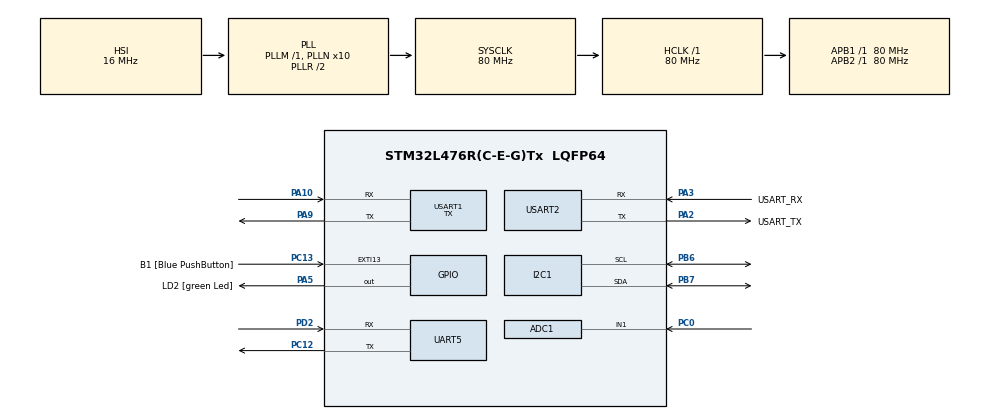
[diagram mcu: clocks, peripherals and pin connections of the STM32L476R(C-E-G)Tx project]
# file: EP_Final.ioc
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ADC1.Channel-0\#ChannelRegularConversion=ADC_CHANNEL_1
ADC1.NbrOfConversionFlag=1
ADC1.OffsetNumber-0\#ChannelRegularConversion=ADC_OFFSET_NONE
ADC1.Rank-0\#ChannelRegularConversion=1
ADC1.SamplingTime-0\#ChannelRegularConversion=ADC_SAMPLETIME_2CYCLES_5
ADC1.master=1
Dma.Request0=UART5_RX
Dma.UART5_RX.0.Direction=DMA_PERIPH_TO_MEMORY
Dma.UART5_RX.0.Instance=DMA2_Channel2
Dma.UART5_RX.0.MemDataAlignment=DMA_MDATAALIGN_BYTE
Dma.UART5_RX.0.MemInc=DMA_MINC_ENABLE
Dma.UART5_RX.0.Mode=DMA_CIRCULAR
Dma.UART5_RX.0.PeriphDataAlignment=DMA_PDATAALIGN_BYTE
Dma.UART5_RX.0.PeriphInc=DMA_PINC_DISABLE
Dma.UART5_RX.0.Priority=DMA_PRIORITY_LOW
FREERTOS.Tasks01=defaultTask,24,128,StartDefaultTask,Default,NULL,Dynamic,NULL,NULL
FREERTOS.configUSE_NEWLIB_REENTRANT=1
I2C1.Timing=0x10D19CE4
Mcu.Family=STM32L4
Mcu.Name=STM32L476R(C-E-G)Tx
Mcu.Package=LQFP64
NVIC.DMA2_Channel2_IRQn=true\:5\:0\:false\:false\:true\:true\:false\:true\:true
NVIC.PriorityGroup=NVIC_PRIORITYGROUP_4
NVIC.TIM6_DAC_IRQn=true\:15\:0\:false\:false\:true\:false\:false\:true\:true
NVIC.TimeBase=TIM6_DAC_IRQn
NVIC.TimeBaseIP=TIM6
PA10.Mode=Asynchronous
PA10.Signal=USART1_RX
PA13\ (JTMS-SWDIO).GPIO_Label=TMS
PA13\ (JTMS-SWDIO).Mode=Trace_Asynchronous_SW
PA13\ (JTMS-SWDIO).Signal=SYS_JTMS-SWDIO
PA14\ (JTCK-SWCLK).GPIO_Label=TCK
PA14\ (JTCK-SWCLK).Mode=Trace_Asynchronous_SW
PA14\ (JTCK-SWCLK).Signal=SYS_JTCK-SWCLK
PA2.GPIO_Label=USART_TX
PA2.GPIO_Mode=GPIO_MODE_AF_PP
PA2.GPIO_PuPd=GPIO_NOPULL
PA2.GPIO_Speed=GPIO_SPEED_FREQ_VERY_HIGH
PA2.Mode=Asynchronous
PA2.Signal=USART2_TX
PA3.GPIO_Label=USART_RX
PA3.GPIO_Mode=GPIO_MODE_AF_PP
PA3.GPIO_PuPd=GPIO_NOPULL
PA3.GPIO_Speed=GPIO_SPEED_FREQ_VERY_HIGH
PA3.Mode=Asynchronous
PA3.Signal=USART2_RX
PA5.GPIO_Label=LD2 [green Led]
PA5.GPIO_ModeDefaultOutputPP=GPIO_MODE_OUTPUT_PP
PA5.GPIO_PuPd=GPIO_NOPULL
PA5.GPIO_Speed=GPIO_SPEED_FREQ_LOW
PA5.Signal=GPIO_Output
PA9.Mode=Asynchronous
PA9.Signal=USART1_TX
PB3\ (JTDO-TRACESWO).GPIO_Label=SWO
PB3\ (JTDO-TRACESWO).Mode=Trace_Asynchronous_SW
PB3\ (JTDO-TRACESWO).Signal=SYS_JTDO-SWO
PB6.Mode=I2C
PB6.Signal=I2C1_SCL
PB7.Mode=I2C
PB7.Signal=I2C1_SDA
PC0.Signal=ADCx_IN1
PC12.Mode=Asynchronous
PC12.Signal=UART5_TX
PC13.GPIO_Label=B1 [Blue PushButton]
PC13.GPIO_ModeDefaultEXTI=GPIO_MODE_IT_FALLING
PC13.GPIO_PuPd=GPIO_NOPULL
PC13.Signal=GPXTI13
PC14-OSC32_IN\ (PC14).Mode=LSE-External-Oscillator
PC14-OSC32_IN\ (PC14).Signal=RCC_OSC32_IN
PC15-OSC32_OUT\ (PC15).Mode=LSE-External-Oscillator
PC15-OSC32_OUT\ (PC15).Signal=RCC_OSC32_OUT
PD2.Mode=Asynchronous
PD2.Signal=UART5_RX
PH0-OSC_IN\ (PH0).Signal=RCC_OSC_IN
PH1-OSC_OUT\ (PH1).Signal=RCC_OSC_OUT
ProjectManager.HeapSize=0x200
ProjectManager.StackSize=0x400
ProjectManager.TargetToolchain=STM32CubeIDE
RCC.ADCFreq_Value=64000000
RCC.AHBFreq_Value=80000000
RCC.APB1Freq_Value=80000000
RCC.APB1TimFreq_Value=80000000
RCC.APB2Freq_Value=80000000
RCC.APB2TimFreq_Value=80000000
RCC.CortexFreq_Value=80000000
RCC.HCLKFreq_Value=80000000
RCC.HSE_VALUE=8000000
RCC.HSI_VALUE=16000000
RCC.MSI_VALUE=4000000
RCC.PLLN=10
RCC.PLLSourceVirtual=RCC_PLLSOURCE_HSI
RCC.PREFETCH_ENABLE=1
RCC.SYSCLKFreq_VALUE=80000000
RCC.SYSCLKSource=RCC_SYSCLKSOURCE_PLLCLK
RCC.USBFreq_Value=64000000
RCC.VCOOutputFreq_Value=160000000
SH.ADCx_IN1.0=ADC1_IN1,IN1-Single-Ended
USART1.Mode=MODE_TX
USART1.VirtualMode-Asynchronous=VM_ASYNC
USART2.VirtualMode-Asynchronous=VM_ASYNC
VP_FREERTOS_VS_CMSIS_V2.Mode=CMSIS_V2
VP_SYS_VS_tim6.Mode=TIM6
board=NUCLEO-L476RG

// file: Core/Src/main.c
/* USER CODE BEGIN Header */
/**
  ******************************************************************************
  * @file           : main.c
  * @brief          : Main program body
  ******************************************************************************
  * @attention
  *
  * Copyright (c) 2025 STMicroelectronics.
  * All rights reserved.
  *
  * This software is licensed under terms that can be found in the LICENSE file
  * in the root directory of this software component.
  * If no LICENSE file comes with this software, it is provided AS-IS.
  *
  ******************************************************************************
  */
/* USER CODE END Header */
#include "main.h"
#include "cmsis_os.h"

/* USER CODE BEGIN Includes */
#include "FreeRTOS.h"
#include "task.h"
#include "queue.h"
/* USER CODE END Includes */

/* USER CODE BEGIN PTD */
typedef struct{
	uint16_t temp_raw;
	uint16_t humid_raw;
	uint8_t humid;
	float temp;
}data_t;

//GPS_data
typedef struct{
	char lat[20];
	char lon[20];
	char time[12];
	char date[12];
	float speed;
}GPS_data;

typedef enum{
	DHT11_DATA,
	MPU6050_DATA,
	MQ2_DATA
}Sensor_data_type;

typedef struct{
	Sensor_data_type type;
	union{
		data_t data_dht;
		MPU_Data_t data_mpu;
	}data;
	uint32_t mq2_data;

}Sensor_data_t;

typedef struct{
	data_t data_dht;
	MPU_Data_t data_mpu;
	uint32_t mq2_data;
	GPS_data gps_data;
}All_Sensor_data;
/* USER CODE END PTD */

/* USER CODE BEGIN PM */
#define STACK_DEPTH 2048UL
#define DHT_TASK_PRIORITY tskIDLE_PRIORITY+1
#define MQ2_TASK_PRIORITY tskIDLE_PRIORITY+2
#define TRANSMIT_TASK_PRIORITY tskIDLE_PRIORITY+3
#define MPU_TASK_PRIORITY tskIDLE_PRIORITY+4
/* USER CODE END PM */

ADC_HandleTypeDef hadc1;

I2C_HandleTypeDef hi2c1;

UART_HandleTypeDef huart5;
UART_HandleTypeDef huart1;
UART_HandleTypeDef huart2;
DMA_HandleTypeDef hdma_uart5_rx;

/* Definitions for defaultTask */
osThreadId_t defaultTaskHandle;
const osThreadAttr_t defaultTask_attributes = {
  .name = "defaultTask",
  .stack_size = 128 * 4,
  .priority = (osPriority_t) osPriorityNormal,
};
/* USER CODE BEGIN PV */
//static char readings[200] = {0};
TaskHandle_t dht_task,mpu_task,transmit_task,mq2_task,sensor_data_aquire;
QueueHandle_t sensor_queue;
dht11_handle_t dht_handle = {0};
BaseType_t res;
char dht_readings[100];
char mq2_buff[50];
char sens_data_buff[500];
char transmit_buff[550];
char recv_buff[200];
char *debug = "Task not created\r\n";
char err_msg[50] = "error Occurred\n\r";
char crc_value[100] = {0};
float lat_raw,lon_raw,speed_raw,course_raw,time_raw;
uint32_t date_raw;
char dir1,dir2,mode;
char gps_check_sum[10];
/* USER CODE END PV */

void SystemClock_Config(void);
static void MX_GPIO_Init(void);
static void MX_DMA_Init(void);
static void MX_USART2_UART_Init(void);
static void MX_I2C1_Init(void);
static void MX_USART1_UART_Init(void);
static void MX_ADC1_Init(void);
static void MX_UART5_Init(void);
void StartDefaultTask(void *argument);

/* USER CODE BEGIN PFP */
void DHT11_Task(void *params);
void MPU_6050_Task(void *params);
void Transmit(void *params);
void Sensor_data_aquire(void *params);
static void DHT11_Sensor_Init(void);
static void task_create(void);
static uint8_t gps_parse_data(All_Sensor_data *sensor_data);
/* USER CODE END PFP */

int main(void)
{

  /* MCU Configuration--------------------------------------------------------*/

  /* Reset of all peripherals, Initializes the Flash interface and the Systick. */
  HAL_Init();

  /* Configure the system clock */
  SystemClock_Config();

  /* Initialize all configured peripherals */
  MX_GPIO_Init();
  MX_DMA_Init();
  MX_USART2_UART_Init();
  MX_I2C1_Init();
  MX_USART1_UART_Init();
  MX_ADC1_Init();
  MX_UART5_Init();
  /* USER CODE BEGIN 2 */
  //HAL_UART_Transmit(&huart2, (uint8_t*)debug, strlen(debug), HAL_MAX_DELAY);
  //lcd_init();
  HAL_UART_Receive_DMA(&huart5, (uint8_t*)recv_buff, sizeof(recv_buff));
  mpu6050_init();
  DHT11_Sensor_Init();
  crcInit();
  HAL_UART_Transmit(&huart2, (uint8_t*)"Peripherals Initialized", 30, HAL_MAX_DELAY);
  /* USER CODE END 2 */

  /* Init scheduler */
  osKernelInitialize();

  /* USER CODE BEGIN RTOS_QUEUES */
  /* add queues, ... */
  sensor_queue = xQueueCreate(10, sizeof(All_Sensor_data));
  if(sensor_queue == NULL){
	  Error_Handler();
  }

  /* USER CODE END RTOS_QUEUES */

  /* Create the thread(s) */
  /* creation of defaultTask */
  defaultTaskHandle = osThreadNew(StartDefaultTask, NULL, &defaultTask_attributes);

  /* USER CODE BEGIN RTOS_THREADS */
  /* add threads, ... */
  task_create();
  /* USER CODE END RTOS_THREADS */

  /* Start scheduler */
  osKernelStart();

  /* We should never get here as control is now taken by the scheduler */

  /* Infinite loop */
  while (1)
  {

  }
}

void SystemClock_Config(void)
{
  RCC_OscInitTypeDef RCC_OscInitStruct = {0};
  RCC_ClkInitTypeDef RCC_ClkInitStruct = {0};

  /** Configure the main internal regulator output voltage
  */
  if (HAL_PWREx_ControlVoltageScaling(PWR_REGULATOR_VOLTAGE_SCALE1) != HAL_OK)
  {
    Error_Handler();
  }

  /** Initializes the RCC Oscillators according to the specified parameters
  * in the RCC_OscInitTypeDef structure.
  */
  RCC_OscInitStruct.OscillatorType = RCC_OSCILLATORTYPE_HSI;
  RCC_OscInitStruct.HSIState = RCC_HSI_ON;
  RCC_OscInitStruct.HSICalibrationValue = RCC_HSICALIBRATION_DEFAULT;
  RCC_OscInitStruct.PLL.PLLState = RCC_PLL_ON;
  RCC_OscInitStruct.PLL.PLLSource = RCC_PLLSOURCE_HSI;
  RCC_OscInitStruct.PLL.PLLM = 1;
  RCC_OscInitStruct.PLL.PLLN = 10;
  RCC_OscInitStruct.PLL.PLLP = RCC_PLLP_DIV7;
  RCC_OscInitStruct.PLL.PLLQ = RCC_PLLQ_DIV2;
  RCC_OscInitStruct.PLL.PLLR = RCC_PLLR_DIV2;
  if (HAL_RCC_OscConfig(&RCC_OscInitStruct) != HAL_OK)
  {
    Error_Handler();
  }

  /** Initializes the CPU, AHB and APB buses clocks
  */
  RCC_ClkInitStruct.ClockType = RCC_CLOCKTYPE_HCLK|RCC_CLOCKTYPE_SYSCLK
                              |RCC_CLOCKTYPE_PCLK1|RCC_CLOCKTYPE_PCLK2;
  RCC_ClkInitStruct.SYSCLKSource = RCC_SYSCLKSOURCE_PLLCLK;
  RCC_ClkInitStruct.AHBCLKDivider = RCC_SYSCLK_DIV1;
  RCC_ClkInitStruct.APB1CLKDivider = RCC_HCLK_DIV1;
  RCC_ClkInitStruct.APB2CLKDivider = RCC_HCLK_DIV1;

  if (HAL_RCC_ClockConfig(&RCC_ClkInitStruct, FLASH_LATENCY_4) != HAL_OK)
  {
    Error_Handler();
  }
}

static void MX_ADC1_Init(void)
{

  ADC_MultiModeTypeDef multimode = {0};
  ADC_ChannelConfTypeDef sConfig = {0};

  /** Common config
  */
  hadc1.Instance = ADC1;
  hadc1.Init.ClockPrescaler = ADC_CLOCK_ASYNC_DIV1;
  hadc1.Init.Resolution = ADC_RESOLUTION_12B;
  hadc1.Init.DataAlign = ADC_DATAALIGN_RIGHT;
  hadc1.Init.ScanConvMode = ADC_SCAN_DISABLE;
  hadc1.Init.EOCSelection = ADC_EOC_SINGLE_CONV;
  hadc1.Init.LowPowerAutoWait = DISABLE;
  hadc1.Init.ContinuousConvMode = DISABLE;
  hadc1.Init.NbrOfConversion = 1;
  hadc1.Init.DiscontinuousConvMode = DISABLE;
  hadc1.Init.ExternalTrigConv = ADC_SOFTWARE_START;
  hadc1.Init.ExternalTrigConvEdge = ADC_EXTERNALTRIGCONVEDGE_NONE;
  hadc1.Init.DMAContinuousRequests = DISABLE;
  hadc1.Init.Overrun = ADC_OVR_DATA_PRESERVED;
  hadc1.Init.OversamplingMode = DISABLE;
  if (HAL_ADC_Init(&hadc1) != HAL_OK)
  {
    Error_Handler();
  }

  /** Configure the ADC multi-mode
  */
  multimode.Mode = ADC_MODE_INDEPENDENT;
  if (HAL_ADCEx_MultiModeConfigChannel(&hadc1, &multimode) != HAL_OK)
  {
    Error_Handler();
  }

  /** Configure Regular Channel
  */
  sConfig.Channel = ADC_CHANNEL_1;
  sConfig.Rank = ADC_REGULAR_RANK_1;
  sConfig.SamplingTime = ADC_SAMPLETIME_2CYCLES_5;
  sConfig.SingleDiff = ADC_SINGLE_ENDED;
  sConfig.OffsetNumber = ADC_OFFSET_NONE;
  sConfig.Offset = 0;
  if (HAL_ADC_ConfigChannel(&hadc1, &sConfig) != HAL_OK)
  {
    Error_Handler();
  }

}

static void MX_I2C1_Init(void)
{

  hi2c1.Instance = I2C1;
  hi2c1.Init.Timing = 0x10D19CE4;
  hi2c1.Init.OwnAddress1 = 0;
  hi2c1.Init.AddressingMode = I2C_ADDRESSINGMODE_7BIT;
  hi2c1.Init.DualAddressMode = I2C_DUALADDRESS_DISABLE;
  hi2c1.Init.OwnAddress2 = 0;
  hi2c1.Init.OwnAddress2Masks = I2C_OA2_NOMASK;
  hi2c1.Init.GeneralCallMode = I2C_GENERALCALL_DISABLE;
  hi2c1.Init.NoStretchMode = I2C_NOSTRETCH_DISABLE;
  if (HAL_I2C_Init(&hi2c1) != HAL_OK)
  {
    Error_Handler();
  }

  /** Configure Analogue filter
  */
  if (HAL_I2CEx_ConfigAnalogFilter(&hi2c1, I2C_ANALOGFILTER_ENABLE) != HAL_OK)
  {
    Error_Handler();
  }

  /** Configure Digital filter
  */
  if (HAL_I2CEx_ConfigDigitalFilter(&hi2c1, 0) != HAL_OK)
  {
    Error_Handler();
  }

}

static void MX_UART5_Init(void)
{

  huart5.Instance = UART5;
  huart5.Init.BaudRate = 9600;
  huart5.Init.WordLength = UART_WORDLENGTH_8B;
  huart5.Init.StopBits = UART_STOPBITS_1;
  huart5.Init.Parity = UART_PARITY_NONE;
  huart5.Init.Mode = UART_MODE_TX_RX;
  huart5.Init.HwFlowCtl = UART_HWCONTROL_NONE;
  huart5.Init.OverSampling = UART_OVERSAMPLING_16;
  huart5.Init.OneBitSampling = UART_ONE_BIT_SAMPLE_DISABLE;
  huart5.AdvancedInit.AdvFeatureInit = UART_ADVFEATURE_NO_INIT;
  if (HAL_UART_Init(&huart5) != HAL_OK)
  {
    Error_Handler();
  }

}

static void MX_USART1_UART_Init(void)
{

  huart1.Instance = USART1;
  huart1.Init.BaudRate = 115200;
  huart1.Init.WordLength = UART_WORDLENGTH_8B;
  huart1.Init.StopBits = UART_STOPBITS_1;
  huart1.Init.Parity = UART_PARITY_NONE;
  huart1.Init.Mode = UART_MODE_TX;
  huart1.Init.HwFlowCtl = UART_HWCONTROL_NONE;
  huart1.Init.OverSampling = UART_OVERSAMPLING_16;
  huart1.Init.OneBitSampling = UART_ONE_BIT_SAMPLE_DISABLE;
  huart1.AdvancedInit.AdvFeatureInit = UART_ADVFEATURE_NO_INIT;
  if (HAL_UART_Init(&huart1) != HAL_OK)
  {
    Error_Handler();
  }

}

static void MX_USART2_UART_Init(void)
{

  huart2.Instance = USART2;
  huart2.Init.BaudRate = 115200;
  huart2.Init.WordLength = UART_WORDLENGTH_8B;
  huart2.Init.StopBits = UART_STOPBITS_1;
  huart2.Init.Parity = UART_PARITY_NONE;
  huart2.Init.Mode = UART_MODE_TX_RX;
  huart2.Init.HwFlowCtl = UART_HWCONTROL_NONE;
  huart2.Init.OverSampling = UART_OVERSAMPLING_16;
  huart2.Init.OneBitSampling = UART_ONE_BIT_SAMPLE_DISABLE;
  huart2.AdvancedInit.AdvFeatureInit = UART_ADVFEATURE_NO_INIT;
  if (HAL_UART_Init(&huart2) != HAL_OK)
  {
    Error_Handler();
  }

}

static void MX_DMA_Init(void)
{

  /* DMA controller clock enable */
  __HAL_RCC_DMA2_CLK_ENABLE();

  /* DMA interrupt init */
  /* DMA2_Channel2_IRQn interrupt configuration */
//  HAL_NVIC_SetPriority(DMA2_Channel2_IRQn, 5, 0);
//  HAL_NVIC_EnableIRQ(DMA2_Channel2_IRQn);

}

static void MX_GPIO_Init(void)
{
  GPIO_InitTypeDef GPIO_InitStruct = {0};

  /* GPIO Ports Clock Enable */
  __HAL_RCC_GPIOC_CLK_ENABLE();
  __HAL_RCC_GPIOH_CLK_ENABLE();
  __HAL_RCC_GPIOA_CLK_ENABLE();
  __HAL_RCC_GPIOD_CLK_ENABLE();
  __HAL_RCC_GPIOB_CLK_ENABLE();

  /*Configure GPIO pin Output Level */
  HAL_GPIO_WritePin(LD2_GPIO_Port, LD2_Pin, GPIO_PIN_RESET);

  /*Configure GPIO pin : B1_Pin */
  GPIO_InitStruct.Pin = B1_Pin;
  GPIO_InitStruct.Mode = GPIO_MODE_IT_FALLING;
  GPIO_InitStruct.Pull = GPIO_NOPULL;
  HAL_GPIO_Init(B1_GPIO_Port, &GPIO_InitStruct);

  /*Configure GPIO pin : LD2_Pin */
  GPIO_InitStruct.Pin = LD2_Pin;
  GPIO_InitStruct.Mode = GPIO_MODE_OUTPUT_PP;
  GPIO_InitStruct.Pull = GPIO_NOPULL;
  GPIO_InitStruct.Speed = GPIO_SPEED_FREQ_LOW;
  HAL_GPIO_Init(LD2_GPIO_Port, &GPIO_InitStruct);

}

/* USER CODE BEGIN 4 */

static void DHT11_Sensor_Init(void){

	 //Enable the DHT interface
		/* link interface function */
	    DRIVER_DHT11_LINK_INIT(&dht_handle, dht11_handle_t);
	    DRIVER_DHT11_LINK_BUS_INIT(&dht_handle, dht11_interface_init);
	    DRIVER_DHT11_LINK_BUS_DEINIT(&dht_handle, dht11_interface_deinit);
	    DRIVER_DHT11_LINK_BUS_READ(&dht_handle, dht11_interface_read);
	    DRIVER_DHT11_LINK_BUS_WRITE(&dht_handle, dht11_interface_write);
	    DRIVER_DHT11_LINK_DELAY_MS(&dht_handle, dht11_interface_delay_ms);
	    DRIVER_DHT11_LINK_DELAY_US(&dht_handle, dht11_interface_delay_us);
	    DRIVER_DHT11_LINK_ENABLE_IRQ(&dht_handle, dht11_interface_enable_irq);
	    DRIVER_DHT11_LINK_DISABLE_IRQ(&dht_handle, dht11_interface_disable_irq);
	    DRIVER_DHT11_LINK_DEBUG_PRINT(&dht_handle, dht11_interface_debug_print);

	    //Initialize the dht
	    uint8_t res = dht11_init(&dht_handle);
	    if(res != 0){
			dht_handle.debug_print("Initialization Error\n");
		}
}

static uint8_t gps_parse_data(All_Sensor_data *sensor_data){
	char data_buff[100] = {0};
	uint8_t i = 0, j = 0;

	while (recv_buff[i] != '$' && i < sizeof(recv_buff)) i++;
	if (i >= sizeof(recv_buff)) return 2;

	while (recv_buff[i] != '\n' && j < sizeof(data_buff) - 1 && i < sizeof(recv_buff)) {
		data_buff[j++] = recv_buff[i++];
	}
	data_buff[j++] = '\n';
	data_buff[j] = '\0';
	//HAL_UART_Transmit(&huart2, (uint8_t*)data_buff, strlen(data_buff), HAL_MAX_DELAY);
	// Send it out (for debug/verification)
	//HAL_UART_Transmit(&huart2, (uint8_t *)data_buff, strlen(data_buff), HAL_MAX_DELAY);
	uint8_t res = sscanf(data_buff,"$GNRMC,%f,%c,%f,%c,%f,%c,%f,%f,%ld,,,%s\r\n",&time_raw,&mode,&lat_raw,&dir1,&lon_raw,&dir2,&speed_raw,&course_raw,&date_raw,gps_check_sum);
	if(mode != 'A' || res!=10){
		return 1;
	}
	else{
	//Parse Time and Date in Local Time -> UTC + 5hrs,30min Format
	uint8_t hr = time_raw/10000;
	uint8_t min = (time_raw - 10000*hr)/100;
	uint8_t sec = (uint8_t)fmod(time_raw,100);
	uint8_t day = date_raw/10000;
	uint8_t month = (date_raw - 10000*day)/100;
	uint8_t year = (uint8_t)fmod(date_raw,100);
	uint8_t days_in_month[12] = {31,28,31,30,31,30,31,31,30,31,30,31};
	if(year%4 == 0){
		days_in_month[1] = 29;
	}
	hr+=5;
	min+=30;
	if(min>=60){
		min-=60;
		hr+=1;
	}
	if(hr>=24){
		hr = hr - 24;
		day+=1;
	}
	if(day>days_in_month[month - 1]){
		day = 1;
		month += 1;
	}
	if(month > 12){
		month = 1;
		year +=1;
		if(year>99){
			year = 0;
		}
	}
	sprintf(sensor_data->gps_data.time,"%02d:%02d:%02d",hr,min,sec);
	sprintf(sensor_data->gps_data.date,"%02d:%02d:%02d",day,month,year);

	//Parse Location
	uint16_t degree_lat = lat_raw/100;
	float minute_lat = (lat_raw - degree_lat*100);
	float final_lat = degree_lat + (minute_lat/60);
	uint16_t degree_lon = lon_raw/100;
	float minute_lon = (lon_raw - degree_lon*100);
	float final_lon = degree_lon + (minute_lon/60);
	sprintf(sensor_data->gps_data.lat,"%f%c",final_lat,dir1);
	sprintf(sensor_data->gps_data.lon,"%f%c",final_lon,dir2);

	//Parse Speed
	float speed = speed_raw*1.852;//Knots to kmph
	sensor_data->gps_data.speed = speed;

	return 0;
	}

}

#if (CRC_CHECK_ENABLED == 0)

void DHT11_Task(void *pvParameters){
	while(1){
		Sensor_data_t sensor_data;
		sensor_data.type = DHT11_DATA;
		uint8_t res = dht11_read_temperature_humidity(&dht_handle, &sensor_data.data.data_dht.temp_raw, &sensor_data.data.data_dht.temp, &sensor_data.data.data_dht.humid_raw, &sensor_data.data.data_dht.humid);
		if(res == 0){
		xQueueSend(sensor_queue,&sensor_data,portMAX_DELAY);
		}
		vTaskDelay(pdMS_TO_TICKS(1400));//Wait for 2s
	}
}

void MPU_6050_Task(void *pvParameters){
	while(1){
		Sensor_data_t sensor_data;
		sensor_data.type = MPU6050_DATA;
		sensor_data.data.data_mpu= MPU6050_read_all();
		xQueueSend(sensor_queue,&sensor_data,portMAX_DELAY);
		vTaskDelay(pdMS_TO_TICKS(1000));//Wait for 500ms
	}

}

void MQ2_Task(void *pvParameters){
	while(1){
	  Sensor_data_t sensor_data;
	  sensor_data.type = MQ2_DATA;
	  HAL_ADC_Start(&hadc1);
	  while(HAL_ADC_PollForConversion(&hadc1, HAL_MAX_DELAY) != HAL_OK);
	  sensor_data.mq2_data = HAL_ADC_GetValue(&hadc1);
	  xQueueSend(sensor_queue,&sensor_data,portMAX_DELAY);
	  vTaskDelay(1200);//Wait for 1s
	}//Wait for

}

void Transmit(void *pvParameters){
	Sensor_data_t sensor_data;
	while(1){
		if(xQueueReceive(sensor_queue, &sensor_data, portMAX_DELAY)){
			switch(sensor_data.type){
			case DHT11_DATA:
				sprintf(dht_readings,"A:Temperature is %.2f and Humidity is %.2d\r\n", sensor_data.data.data_dht.temp,sensor_data.data.data_dht.humid);
				HAL_UART_Transmit(&huart1, (uint8_t*)dht_readings, strlen(dht_readings), HAL_MAX_DELAY);
				break;
			case MPU6050_DATA:
				sprintf(readings,"B:Acceleration ax=%.2f , ay =%.2f , az = %.2f\n\r Angular Velocity wx = %.2f , wy = %.2f , wz = %.2f\r\n",sensor_data.data.data_mpu.acc_x,sensor_data.data.data_mpu.acc_y,sensor_data.data.data_mpu.acc_z,sensor_data.data.data_mpu.gyr_x,sensor_data.data.data_mpu.gyr_y,sensor_data.data.data_mpu.gyr_z);
				HAL_UART_Transmit(&huart1,(uint8_t*)readings, strlen(readings), HAL_MAX_DELAY);
				break;
			case MQ2_DATA:
				sprintf(mq2_buff,"C:PPM concentration is %lu\n\r",sensor_data.mq2_data);
				HAL_UART_Transmit(&huart1, (uint8_t*)mq2_buff, strlen(mq2_buff), HAL_MAX_DELAY);
			}
		}
	}

}

#else

void Sensor_data_aquire(void *pvParameters){
	while(1){
		All_Sensor_data sens_data;
		uint8_t res = dht11_read_temperature_humidity(&dht_handle, &sens_data.data_dht.temp_raw,&sens_data.data_dht.temp,&sens_data.data_dht.humid_raw,&sens_data.data_dht.humid);
		//HAL_Delay(100);
		if(res != 0){
			//HAL_UART_Transmit(&huart2, (uint8_t*)"DHT Error Occurred\r\n", 30, HAL_MAX_DELAY);
		}
		sens_data.data_mpu = MPU6050_read_all();
		HAL_ADC_Start(&hadc1);
		while(HAL_ADC_PollForConversion(&hadc1, HAL_MAX_DELAY) != HAL_OK);
		sens_data.mq2_data = HAL_ADC_GetValue(&hadc1);
		uint8_t rec = gps_parse_data(&sens_data);
		if(rec!=0){
			//HAL_UART_Transmit(&huart2, (uint8_t*)"GPS Error Occurred\r\n", 30, HAL_MAX_DELAY);
		}
		xQueueSend(sensor_queue,&sens_data,portMAX_DELAY);
		vTaskDelay(pdMS_TO_TICKS(3000));
	}
}

void Transmit(void *pvParameters){
	while(1){
		All_Sensor_data sens_data;
		if(xQueueReceive(sensor_queue, &sens_data, portMAX_DELAY)){
			sprintf(sens_data_buff,"%f,%u,%f,%f,%f,%f,%f,%f,%lu,%s,%s,%s,%s,%f",\
			sens_data.data_dht.temp,sens_data.data_dht.humid,sens_data.data_mpu.acc_x,\
			sens_data.data_mpu.acc_y,sens_data.data_mpu.acc_z,sens_data.data_mpu.gyr_x,\
			sens_data.data_mpu.gyr_y,sens_data.data_mpu.gyr_z,sens_data.mq2_data,sens_data.gps_data.lat,sens_data.gps_data.lon,\
			sens_data.gps_data.date,sens_data.gps_data.time,sens_data.gps_data.speed);
			crc crc_val = crcFast((unsigned char*)sens_data_buff, strlen(sens_data_buff));
			//sprintf(crc_value,"%lu %d %.2f\n\r",crc_val,sens_data.data_dht.humid,sens_data.data_dht.temp);
			//HAL_UART_Transmit(&huart2, (uint8_t*)&crc_value, 100, HAL_MAX_DELAY);
			sprintf(transmit_buff,"AA,%s,%lu\r\n",sens_data_buff,crc_val);
			HAL_UART_Transmit(&huart1, (uint8_t*)transmit_buff, strlen(transmit_buff), HAL_MAX_DELAY);
			HAL_UART_Transmit(&huart2,  (uint8_t*)transmit_buff, strlen(transmit_buff), HAL_MAX_DELAY);
		}
	}
}
#endif

static void task_create(void){
#if(CRC_CHECK_ENABLED == 0)
	res = xTaskCreate(DHT11_Task, "DHT11 Task", STACK_DEPTH, NULL, DHT_TASK_PRIORITY, &dht_task);
	  if(res != pdPASS){
		  HAL_UART_Transmit(&huart2, (uint8_t*)"DHT task creation failed\n", 30, HAL_MAX_DELAY);
	  }
	  //configASSERT( xHandle );
	  res = xTaskCreate(MPU_6050_Task, "MPU6050 Task", STACK_DEPTH, NULL, MPU_TASK_PRIORITY, &mpu_task);
	  if(res != pdPASS){
		  HAL_UART_Transmit(&huart2, (uint8_t*)"MPU task creation failed\n", 30, HAL_MAX_DELAY);
	    }
	  res = xTaskCreate(Transmit,"UART Transmit",STACK_DEPTH,NULL,TRANSMIT_TASK_PRIORITY,&transmit_task);
	  if(res != pdPASS){
		  HAL_UART_Transmit(&huart2, (uint8_t*)"Transmit task creation failed\n", 30, HAL_MAX_DELAY);
	    }
	  res = xTaskCreate(MQ2_Task, "MQ2 Task", STACK_DEPTH, NULL, MQ2_TASK_PRIORITY, &mq2_task);
	  if(res != pdPASS){
		  HAL_UART_Transmit(&huart2, (uint8_t*)"MQ2 task creation failed\n", 30, HAL_MAX_DELAY);
	  }
#else
	  res = xTaskCreate(Sensor_data_aquire, "Sensor_Data_Aquire", STACK_DEPTH, NULL, 1, &sensor_data_aquire);
	  if(res != pdPASS){
		  HAL_UART_Transmit(&huart2, (uint8_t*)"Data Aquire task creation failed\n", 30, HAL_MAX_DELAY);
	  }
	  res = xTaskCreate(Transmit,"UART Transmit",STACK_DEPTH,NULL,2,&transmit_task);
	  if(res != pdPASS){
		  HAL_UART_Transmit(&huart2, (uint8_t*)"Transmit task creation failed\n", 30, HAL_MAX_DELAY);
	  }
#endif

}

/* USER CODE END 4 */

void StartDefaultTask(void *argument)
{
  for(;;)
  {
    osDelay(1);
  }
}

void HAL_TIM_PeriodElapsedCallback(TIM_HandleTypeDef *htim)
{
  if (htim->Instance == TIM6)
  {
    HAL_IncTick();
  }
}
